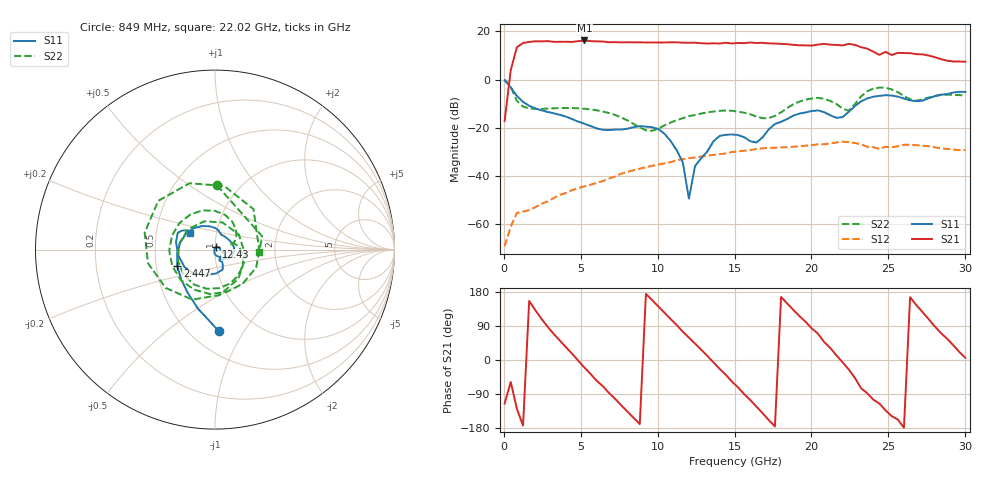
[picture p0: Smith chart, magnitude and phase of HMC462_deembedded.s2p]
!Hittite Microwave Corporation
!12 Elizabeth Drive
!Chelmsford, MA 01824
!Tel: 978-250-3343
!Fax: 978-250-3373
!Device: HMC462, 2-20 GHz, GaAs PHEMT MMIC Low Noise Amlifier Die
!Misc: Vdd=5V, Data includes (two) K connectors, Room
# MHZ S MA R 50
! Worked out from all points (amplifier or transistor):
!   76 points, 50 MHz to 30.01 GHz, reference 50 ohm
!   highest |S21| = 16.3 dB at 5.244 GHz (marker M1)
!   |S21| within 3 dB of that: 840.5 MHz to 23.36 GHz (22.52 GHz wide, 186 % of centre)
!   unconditionally stable (mu >= 1): start of sweep to end of sweep
!   at 4.844 GHz: K = 13.25, MAG = 16.3 dB, |S12| = -45.1 dB
!   at 15.23 GHz: K = 2.67, MAG = 15.4 dB, |S12| = -29.9 dB
!   at 30.01 GHz: K = 3.63, MAG = 9.9 dB, |S12| = -29.4 dB
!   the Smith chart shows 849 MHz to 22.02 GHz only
!   S11 on the Smith chart (normalised r, x): 849 MHz: 0.68, -0.78; 2.447 GHz: 0.64, -0.12; 12.43 GHz: 1.01, +0.03; 22.02 GHz: 0.75, +0.14
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50  0.968 -8.9  0.137 -114.7  0.0003419 159.0  0.992 -15.0
449.5  0.684 -59.2  1.569 -58.1  0.000872 -51.7  0.706 -144.2
849  0.454 -87.3  4.707 -128.8  0.001683 -146.2  0.358 88.2
1648  0.284 -122.6  6.056 155.9  0.001929 148.2  0.25 -23.7
2447  0.229 -156.4  6.222 108.7  0.002597 107.9  0.245 -74.8
4045  0.169 134.9  6.104 33.6  0.00438 40.4  0.255 -159.2
5243.5  0.12 88.8  6.496 -20.1  0.005995 -4.6  0.247 143.0
7241  0.091 57.4  5.995 -102.7  0.009675 -76.6  0.183 58.2
8839  0.107 6.5  5.925 -169.1  0.014 -139.4  0.101 17.6
10037.5  0.094 -31.0  5.897 141.6  0.017 172.8  0.095 22.7
11236  0.034 -80.3  5.942 92.4  0.021 123.0  0.143 -0.4
12434.5  0.016 69.7  5.838 43.2  0.024 74.3  0.184 -38.4
13633  0.052 -20.6  5.672 -6.5  0.027 27.6  0.216 -83.6
15231  0.07 -66.5  5.76 -72.4  0.032 -37.2  0.215 -162.9
16030  0.052 -57.1  5.888 -105.8  0.034 -69.1  0.189 143.3
17628  0.119 -69.0  5.602 -175.4  0.038 -135.6  0.176 -12.4
20025  0.221 169.3  5.08 83.3  0.043 128.9  0.403 166.5
22022.5  0.165 147.1  5.126 -5.7  0.051 39.7  0.248 -2.5
23221  0.351 106.5  4.703 -74.2  0.045 -23.2  0.444 -175.6
25218.5  0.464 32.6  3.232 -148.0  0.039 -92.3  0.622 46.9
27615.5  0.407 -9.0  3.161 108.2  0.041 169.5  0.422 -0.3
30012.5  0.552 -85.6  2.345 5.6  0.034 76.2  0.464 -60.5
